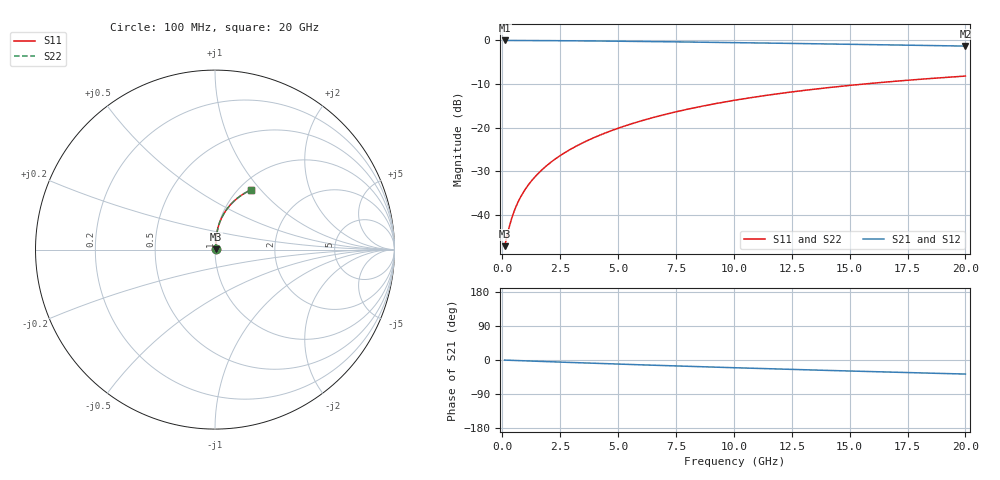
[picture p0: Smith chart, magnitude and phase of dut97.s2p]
! Touchstone file exported from HFSS 2024.1.0
!  File:  C:/UserFiles/LocalFiles/RDL_TSV_Batchsim/temp_RDL_bottom_97_1778695048.aedt
!  Generated:  01:59:59 AM May 14, 2026
!  Design:  RDL_bottom
!  Project:  temp_RDL_bottom_97_1778695048
!  Setup:  Setup1
!  Solution:  Sweep
! Variables:
!  dtsv = 10.80580581um
!  hbump = 3um
!  htsv = 55.61um
!  ldown = 462.58um
!  lrdl = 100um
!  p = 40
!  p1 = 59.02um
!  rhole = 1um
!  t = 450um
!  tdown = 2.06um
!  trdl = 3.915915916um
!  wdown = 22.47um
!  wrdl = 20um
# GHz S MA R 50.000000
! Terminal data exported
! Port[1] = RDL1_T1
! Port[2] = RDL1_T2
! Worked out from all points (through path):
!   200 points, 100 MHz to 20 GHz, reference 50 ohm
!   highest |S21| = -0.03 dB at 100 MHz (marker M1); lowest = -1.3 dB at 20 GHz (marker M2)
!   group delay of S21, straight-line fit = 5.11 ps
!   lowest |S11| = -47.1 dB at 100 MHz (marker M3), VSWR 1.01, Z = 50.4 + j0.206 ohm
!   |S11| at or under -10 dB: start of sweep to 15.65 GHz
!   |S22| runs from -47.1 to -8.2 dB; largest |S21 - S12| = 3.1e-15
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0.1  0.004391 27.7  0.9961 -0.2  0.9961 -0.2  0.004391 27.7
! Gamma 0 0 0 0
! Port Impedance 50 0 50 0
0.3  0.00729 56.0  0.9959 -0.7  0.9959 -0.7  0.00729 56.0
0.4  0.009029 62.3  0.9957 -0.9  0.9957 -0.9  0.009029 62.3
0.5  0.01081 66.4  0.9955 -1.1  0.9955 -1.1  0.01081 66.4
0.6  0.01261 69.3  0.9953 -1.4  0.9953 -1.4  0.01261 69.3
0.7  0.01441 71.5  0.995 -1.6  0.995 -1.6  0.01441 71.5
0.9  0.01801 74.6  0.9946 -2.0  0.9946 -2.0  0.01801 74.6
1.2  0.02345 77.7  0.9939 -2.7  0.9939 -2.7  0.02345 77.7
1.4  0.02711 79.1  0.9934 -3.1  0.9934 -3.1  0.02711 79.1
1.7  0.03267 80.6  0.9926 -3.8  0.9926 -3.8  0.03267 80.6
2.2  0.04209 82.2  0.9909 -4.9  0.9909 -4.9  0.04209 82.2
2.8  0.05367 83.3  0.9886 -6.2  0.9886 -6.2  0.05367 83.3
3.5  0.06753 83.8  0.9853 -7.7  0.9853 -7.7  0.06753 83.7
4.2  0.08174 83.7  0.9816 -9.1  0.9816 -9.1  0.08174 83.7
5  0.09836 83.3  0.9768 -10.8  0.9768 -10.8  0.09835 83.3
5.9  0.1174 82.5  0.9711 -12.6  0.9711 -12.6  0.1174 82.5
6.8  0.1367 81.4  0.9649 -14.3  0.9649 -14.3  0.1367 81.3
8.4  0.1711 78.9  0.9534 -17.4  0.9534 -17.4  0.1711 78.9
10.1  0.2072 76.0  0.9405 -20.5  0.9405 -20.5  0.2072 76.0
13.4  0.274 70.1  0.9141 -26.4  0.9141 -26.4  0.274 70.1
16.7  0.335 64.3  0.8866 -31.9  0.8866 -31.9  0.335 64.3
20  0.3893 58.8  0.8585 -37.1  0.8585 -37.1  0.3893 58.8
